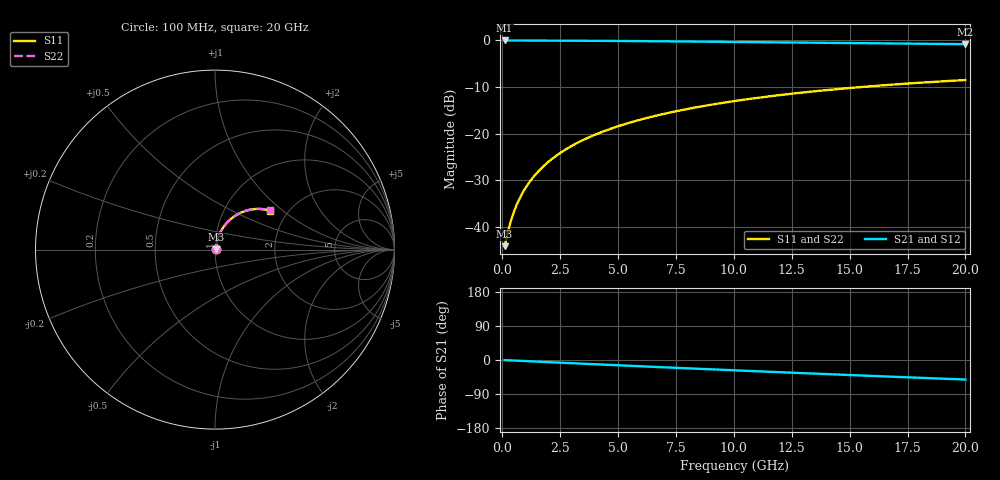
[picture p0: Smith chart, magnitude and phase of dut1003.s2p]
! Touchstone file exported from HFSS 2026.1.0
!  File:  C:/ffzhzh/LocalFiles/Ansys_Project_Files/temp_train_TMRDL_1003_1783159562_22436.aedt
!  Generated:  06:07:19 PM Jul  4, 2026
!  Design:  TMRDL
!  Project:  temp_train_TMRDL_1003_1783159562_22436
! Variables:
!  h_bsmrdl = 2um
!  h_ox = 20um
!  h_rdl = 5um
!  h_sub = 80um
!  h_tmrdl = 4.32um
!  h_tsv = 80um
!  h_via = 3um
!  l_bsmrdl = 300um
!  l_sub = 1253.28um
!  l_tmrdl = 853.28um
!  m_sub = 200um
!  pitch = 26.97um
!  r_tsv = 6um
!  s_tmrdl = 10um
!  w_bsmrdl = 18um
!  w_sub = 500um
!  w_tmrdl = 12.68um
!  x_tsv_center1 = 859.62um
!  x_tsv_center2 = 1177.62um
!  x_tsv_center3 = 2043.58um
!  x_tsv_center4 = 2361.58um
!  x_tsv_center5 = 3227.54um
!  x_tsv_center6 = 3545.54um
# GHz S MA R 50.000000
! Terminal data exported
! Port[1] = TM_RDL1_1_T1
! Port[2] = TM_RDL1_1_T2
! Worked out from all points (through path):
!   200 points, 100 MHz to 20 GHz, reference 50 ohm
!   highest |S21| = -0.05 dB at 100 MHz (marker M1); lowest = -0.8 dB at 20 GHz (marker M2)
!   group delay of S21, straight-line fit = 7.15 ps
!   lowest |S11| = -44.2 dB at 100 MHz (marker M3), VSWR 1.01, Z = 50.6 + j0.276 ohm
!   |S11| at or under -10 dB: start of sweep to 15.58 GHz
!   |S22| runs from -44.2 to -8.5 dB; largest |S21 - S12| = 5.1e-15
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0.1  0.006198 26.2  0.9944 -0.3  0.9944 -0.3  0.006198 26.2
! Gamma 0 0 0 0
! Port Impedance 50 0 50 0
0.3  0.009982 52.7  0.994 -0.9  0.994 -0.9  0.009981 52.7
0.4  0.01219 58.7  0.9938 -1.2  0.9938 -1.2  0.01219 58.7
0.5  0.01444 62.8  0.9936 -1.5  0.9936 -1.5  0.01444 62.8
0.6  0.01672 65.7  0.9935 -1.7  0.9935 -1.7  0.01672 65.7
0.7  0.01903 67.9  0.9933 -2.0  0.9933 -2.0  0.01903 67.9
0.9  0.02369 71.0  0.993 -2.6  0.993 -2.6  0.02369 71.0
1.2  0.03078 73.5  0.9926 -3.4  0.9926 -3.4  0.03078 73.6
1.4  0.03555 74.5  0.9923 -4.0  0.9923 -4.0  0.03555 74.5
1.7  0.04272 75.3  0.9918 -4.8  0.9918 -4.8  0.04272 75.3
2.2  0.05469 75.7  0.9908 -6.2  0.9908 -6.2  0.05469 75.7
2.8  0.06895 75.2  0.9894 -7.9  0.9894 -7.9  0.06895 75.2
3.5  0.08539 74.1  0.9874 -9.9  0.9874 -9.9  0.08538 74.1
4.2  0.1015 72.7  0.9851 -11.8  0.9851 -11.8  0.1015 72.7
5  0.1196 70.9  0.9821 -14.0  0.9821 -14.0  0.1196 70.9
5.9  0.1394 68.8  0.9785 -16.4  0.9785 -16.4  0.1394 68.8
6.8  0.1586 66.6  0.9746 -18.8  0.9746 -18.8  0.1586 66.6
8.3  0.1894 62.9  0.9677 -22.8  0.9677 -22.8  0.1894 62.9
10.1  0.2243 58.5  0.9588 -27.4  0.9588 -27.4  0.2243 58.6
13.4  0.2823 50.7  0.9416 -35.8  0.9416 -35.8  0.2822 50.7
16.7  0.3323 43.0  0.9242 -43.8  0.9242 -43.8  0.3323 43.1
20  0.3744 35.6  0.9076 -51.6  0.9076 -51.6  0.3744 35.6
